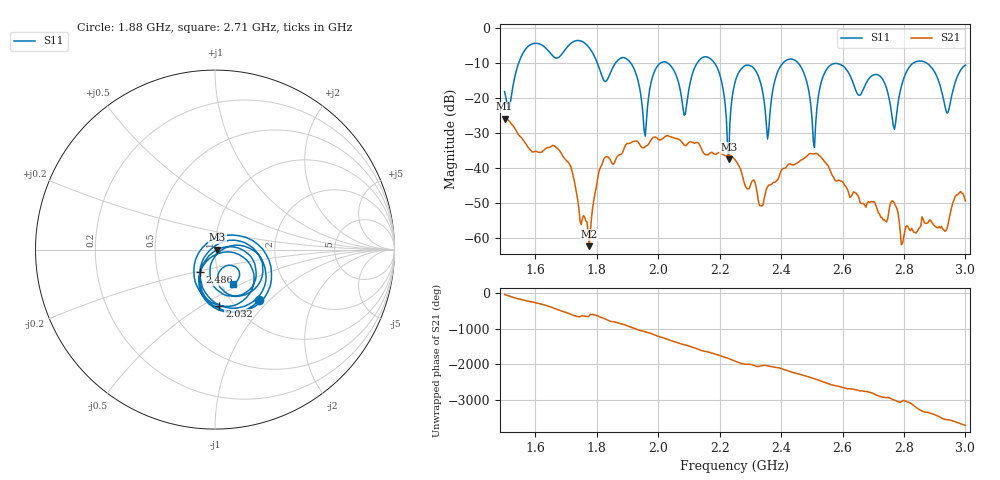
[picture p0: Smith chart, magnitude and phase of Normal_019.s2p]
# HZ S RI R 50
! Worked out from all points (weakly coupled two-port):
!   404 points, 1.5 GHz to 3 GHz, reference 50 ohm
!   highest |S21| = -25.94 dB at 1.5 GHz (marker M1); lowest = -62.4 dB at 1.775 GHz (marker M2)
!   lowest |S11| = -37.6 dB at 2.23 GHz (marker M3), VSWR 1.03, Z = 51.3 + j0.0182 ohm
!   |S11| at or under -10 dB: 2.183 GHz to 2.407 GHz (223.5 MHz wide, 9.74 % of centre); 2.455 GHz to 2.831 GHz (375.5 MHz wide, 14.2 % of centre); 2.873 GHz to end of sweep (the widest 3 of 7)
!   S12 and S22 are empty: the file has one direction only
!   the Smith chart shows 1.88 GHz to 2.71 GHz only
!   S11 on the Smith chart (normalised r, x): 1.88 GHz: 1.32, -0.87; 2.032 GHz: 0.86, -0.59; 2.486 GHz: 0.82, -0.21; 2.71 GHz: 1.13, -0.45
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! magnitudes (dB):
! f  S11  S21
! 1.5 GHz  -18.2  -25.9
! 1.679 GHz  -8.2  -35.0
! 1.753 GHz  -3.9  -54.5
! 1.775 GHz  -5.6  -62.4
! 1.88 GHz  -8.5  -36.1
! 1.958 GHz  -30.9  -34.0
! 2.002 GHz  -10.4  -31.9
! 2.032 GHz  -10.1  -30.8
! 2.084 GHz  -24.9  -33.4
! 2.177 GHz  -9.4  -35.7
! 2.23 GHz  -37.6  -36.4
! 2.252 GHz  -15.0  -37.9
! 2.334 GHz  -15.9  -50.8
! 2.356 GHz  -31.7  -45.3
! 2.408 GHz  -9.8  -40.1
! 2.486 GHz  -16.4  -36.4
! 2.501 GHz  -26.5  -36.0
! 2.561 GHz  -10.6  -41.0
! 2.71 GHz  -13.3  -51.0
! 2.751 GHz  -19.8  -52.7
! 2.94 GHz  -24.3  -57.3
! 3 GHz  -10.6  -49.4
